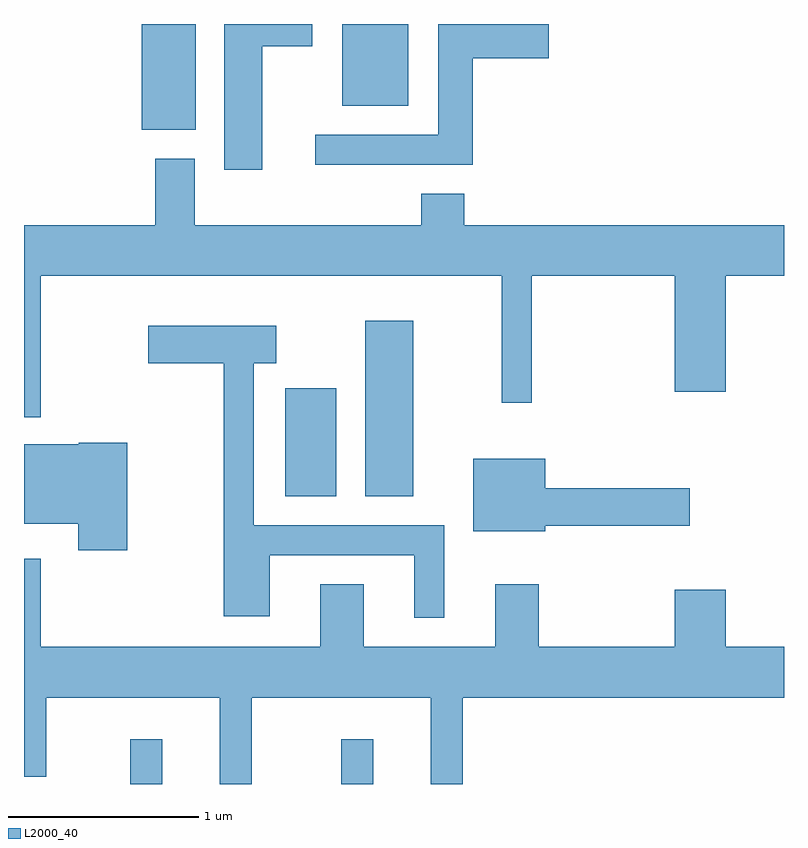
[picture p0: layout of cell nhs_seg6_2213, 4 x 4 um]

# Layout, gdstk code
import gdstk
lib = gdstk.Library(unit=1e-6, precision=1e-09)
def R(c, l, rs):  # rectangles x0, y0, x1, y1
    for r in rs: c.add(gdstk.rectangle(r[:2], r[2:], *l))
def P(c, l, *ps):  # polygons
    for p in ps: c.add(gdstk.Polygon(p, *l))
L2000_40 = (2000, 40)

nhs_seg6_2213 = lib.new_cell('nhs_seg6_2213')
R(nhs_seg6_2213, L2000_40, [(252.171,1636.162,252.339,1636.398), (253.281,1636.162,253.449,1636.398), (252.986,1637.676,253.254,1638.244), (253.406,1637.676,253.659,1638.599), (252.231,1639.606,252.514,1640.162), (253.286,1639.731,253.634,1640.162)])
P(nhs_seg6_2213, L2000_40, [(253.974,1639.981),(254.374,1639.981),(254.374,1640.162),(253.791,1640.162),(253.791,1639.579),(253.143,1639.579),(253.143,1639.421),(253.974,1639.421)],
  [(252.864,1640.046),(253.129,1640.046),(253.129,1640.162),(252.666,1640.162),(252.666,1639.396),(252.864,1639.396)],
  [(251.699,1638.836),(254.126,1638.836),(254.126,1638.168),(254.284,1638.168),(254.284,1638.836),(255.036,1638.836),(255.036,1638.226),(255.304,1638.226),(255.304,1638.836),(255.611,1638.836),(255.611,1639.104),(253.929,1639.104),(253.929,1639.269),(253.701,1639.269),(253.701,1639.104),(252.509,1639.104),(252.509,1639.454),(252.301,1639.454),(252.301,1639.104),(251.611,1639.104),(251.611,1638.093),(251.699,1638.093)],
  [(253.824,1637.524),(252.819,1637.524),(252.819,1638.376),(252.939,1638.376),(252.939,1638.574),(252.266,1638.574),(252.266,1638.376),(252.661,1638.376),(252.661,1637.046),(252.904,1637.046),(252.904,1637.366),(253.666,1637.366),(253.666,1637.038),(253.824,1637.038)],
  [(252.154,1637.959),(251.9,1637.959),(251.9,1637.949),(251.611,1637.949),(251.611,1637.531),(251.896,1637.531),(251.896,1637.391),(252.154,1637.391)],
  [(254.354,1637.521),(255.114,1637.521),(255.114,1637.719),(254.354,1637.719),(254.354,1637.874),(253.976,1637.874),(253.976,1637.491),(254.354,1637.491)],
  [(251.699,1637.348),(251.611,1637.348),(251.611,1636.201),(251.729,1636.201),(251.729,1636.616),(252.641,1636.616),(252.641,1636.162),(252.809,1636.162),(252.809,1636.616),(253.751,1636.616),(253.751,1636.162),(253.919,1636.162),(253.919,1636.616),(255.611,1636.616),(255.611,1636.884),(255.304,1636.884),(255.304,1637.184),(255.036,1637.184),(255.036,1636.884),(254.319,1636.884),(254.319,1637.214),(254.091,1637.214),(254.091,1636.884),(253.399,1636.884),(253.399,1637.214),(253.171,1637.214),(253.171,1636.884),(251.699,1636.884)])

lib.write_gds('nhs_seg6_2213.gds')
